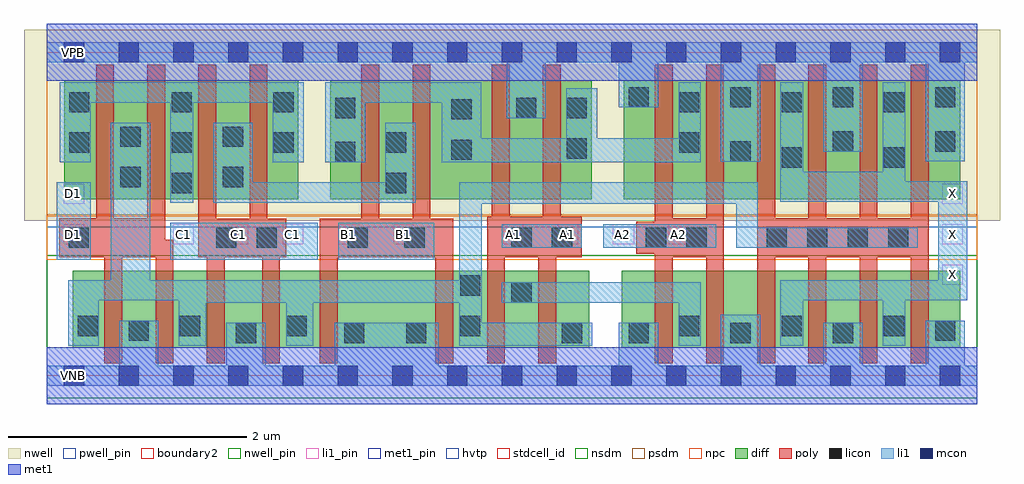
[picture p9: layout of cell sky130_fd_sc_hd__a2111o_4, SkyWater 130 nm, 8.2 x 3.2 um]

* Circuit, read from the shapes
.subckt sky130_fd_sc_hd__a2111o_4 A1 A2 B1 C1 D1 VGND VNB VPB VPWR X
XM1 VGND D1 n1 VNB sky130_fd_pr__nfet_01v8 w=0.65 l=0.15 m=2
XM2 VGND C1 n1 VNB sky130_fd_pr__nfet_01v8 w=0.65 l=0.15 m=2
XM3 VGND B1 n1 VNB sky130_fd_pr__nfet_01v8 w=0.65 l=0.15 m=2
XM4 n2 A1 n1 VNB sky130_fd_pr__nfet_01v8 w=0.65 l=0.15 m=2
XM5 n2 A2 VGND VNB sky130_fd_pr__nfet_01v8 w=0.65 l=0.15 m=2
XM6 X n1 VGND VNB sky130_fd_pr__nfet_01v8 w=0.65 l=0.15 m=4
XM7 n1 D1 n3 VPB sky130_fd_pr__pfet_01v8_hvt w=1 l=0.15 m=2
XM8 n4 C1 n3 VPB sky130_fd_pr__pfet_01v8_hvt w=1 l=0.15 m=2
XM9 n4 B1 n5 VPB sky130_fd_pr__pfet_01v8_hvt w=1 l=0.15 m=2
XM10 VPWR A1 n5 VPB sky130_fd_pr__pfet_01v8_hvt w=1 l=0.15 m=2
XM11 n5 A2 VPWR VPB sky130_fd_pr__pfet_01v8_hvt w=1 l=0.15 m=2
XM12 X n1 VPWR VPB sky130_fd_pr__pfet_01v8_hvt w=1 l=0.15 m=4
.ends

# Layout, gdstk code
import gdstk
lib = gdstk.Library(unit=1e-6, precision=1e-09)
def R(c, l, rs):  # rectangles x0, y0, x1, y1
    for r in rs: c.add(gdstk.rectangle(r[:2], r[2:], *l))
def A(c, l, x, y, w, h, nx, ny, dx, dy):  # array of equal rectangles
    R(c, l, [(x+i*dx, y+j*dy, x+i*dx+w, y+j*dy+h) for i in range(nx) for j in range(ny)])
def P(c, l, *ps):  # polygons
    for p in ps: c.add(gdstk.Polygon(p, *l))
nwell_pin = (64, 16)
nwell = (64, 20)
diff = (65, 20)
poly = (66, 20)
licon = (66, 44)
li1_pin = (67, 16)
li1 = (67, 20)
mcon = (67, 44)
met1_pin = (68, 16)
met1 = (68, 20)
hvtp = (78, 44)
stdcell_id = (81, 4)
nsdm = (93, 44)
psdm = (94, 20)
npc = (95, 20)
pwell_pin = (122, 16)
boundary2 = (236, 0)

sky130_fd_sc_hd__a2111o_ = lib.new_cell('sky130_fd_sc_hd__a2111o_4')
R(sky130_fd_sc_hd__a2111o_, nwell_pin, [(0.145,2.635,0.315,2.805)])
R(sky130_fd_sc_hd__a2111o_, nwell, [(-0.19,1.305,8.01,2.91)])
R(sky130_fd_sc_hd__a2111o_, diff, [(0.22,0.235,4.56,0.885), (4.83,0.235,7.675,0.885), (0.15,1.485,2.115,2.485), (2.385,1.485,4.58,2.485), (4.85,1.485,7.675,2.485)])
P(sky130_fd_sc_hd__a2111o_, poly, [(1.065,1.145),(0.995,1.145),(0.995,2.615),(0.845,2.615),(0.845,1.325),(0.565,1.325),(0.565,2.615),(0.415,2.615),(0.415,1.325),(0.105,1.325),(0.105,0.995),(0.485,0.995),(0.485,0.105),(0.635,0.105),(0.635,0.995),(0.915,0.995),(0.915,0.105),(1.065,0.105)],
  [(2.015,1.32),(1.855,1.32),(1.855,2.615),(1.705,2.615),(1.705,1.32),(1.425,1.32),(1.425,2.615),(1.275,2.615),(1.275,0.995),(1.345,0.995),(1.345,0.105),(1.495,0.105),(1.495,0.995),(1.81,0.995),(1.81,0.105),(1.96,0.105),(1.96,0.995),(2.015,0.995)],
  [(3.415,1.32),(3.225,1.32),(3.225,2.615),(3.075,2.615),(3.075,1.32),(2.795,1.32),(2.795,2.615),(2.645,2.615),(2.645,1.32),(2.295,1.32),(2.295,0.105),(2.445,0.105),(2.445,0.995),(3.265,0.995),(3.265,0.105),(3.415,0.105)],
  [(4.495,1.335),(4.32,1.335),(4.32,2.615),(4.17,2.615),(4.17,1.335),(3.89,1.335),(3.89,2.615),(3.74,2.615),(3.74,1.335),(3.7,1.335),(3.7,0.105),(3.85,0.105),(3.85,0.995),(4.13,0.995),(4.13,0.105),(4.28,0.105),(4.28,0.995),(4.495,0.995)],
  [(5.69,2.615),(5.54,2.615),(5.54,1.325),(5.26,1.325),(5.26,2.615),(5.11,2.615),(5.11,1.295),(4.955,1.295),(4.955,1.025),(5.11,1.025),(5.11,0.105),(5.26,0.105),(5.26,0.995),(5.54,0.995),(5.54,0.105),(5.69,0.105)],
  [(7.41,2.615),(7.26,2.615),(7.26,1.325),(6.98,1.325),(6.98,2.615),(6.83,2.615),(6.83,1.325),(6.55,1.325),(6.55,2.615),(6.4,2.615),(6.4,1.325),(6.12,1.325),(6.12,2.615),(5.97,2.615),(5.97,0.105),(6.12,0.105),(6.12,0.995),(6.4,0.995),(6.4,0.105),(6.55,0.105),(6.55,0.995),(6.83,0.995),(6.83,0.105),(6.98,0.105),(6.98,0.995),(7.26,0.995),(7.26,0.105),(7.41,0.105)])
A(sky130_fd_sc_hd__a2111o_, licon, 5.315, 0.335, 0.17, 0.17, 3, 2, 0.86, 1.88)
A(sky130_fd_sc_hd__a2111o_, licon, 6.05, 1.075, 0.17, 0.17, 4, 1, 0.34, 0)
A(sky130_fd_sc_hd__a2111o_, licon, 1.05, 1.535, 0.17, 0.17, 1, 3, 0, 0.34)
A(sky130_fd_sc_hd__a2111o_, licon, 5.745, 2.255, 0.17, 0.17, 3, 1, 0.86, 0)
R(sky130_fd_sc_hd__a2111o_, licon, [(1.59,0.275,1.76,0.445), (2.5,0.275,2.67,0.445), (3.02,0.275,3.19,0.445), (4.33,0.275,4.5,0.445), (4.89,0.275,5.06,0.445), (5.745,0.275,5.915,0.445), (6.605,0.275,6.775,0.445), (0.69,0.295,0.86,0.465), (7.465,0.295,7.635,0.465), (0.26,0.335,0.43,0.505), (1.12,0.335,1.29,0.505), (2.015,0.335,2.185,0.505), (3.475,0.335,3.645,0.505), (3.905,0.615,4.075,0.785), (3.475,0.675,3.645,0.845), (0.185,1.075,0.355,1.245), (1.425,1.075,1.595,1.245), (1.765,1.075,1.935,1.245), (2.53,1.075,2.7,1.245), (3.005,1.075,3.175,1.245), (3.905,1.075,4.075,1.245), (4.245,1.075,4.415,1.245), (5.035,1.075,5.205,1.245), (5.375,1.075,5.545,1.245), (2.85,1.535,3.02,1.705), (0.62,1.585,0.79,1.755), (1.48,1.585,1.65,1.755), (6.175,1.75,6.345,1.92), (7.035,1.75,7.205,1.92), (2.425,1.795,2.595,1.965), (5.745,1.8,5.915,1.97), (3.4,1.815,3.57,1.985), (4.37,1.825,4.54,1.995), (0.19,1.875,0.36,2.045), (1.905,1.875,2.075,2.045), (2.85,1.875,3.02,2.045), (5.315,1.875,5.485,2.045), (6.605,1.885,6.775,2.055), (7.465,1.885,7.635,2.055), (0.62,1.925,0.79,2.095), (1.48,1.925,1.65,2.095), (3.4,2.155,3.57,2.325), (2.425,2.165,2.595,2.335), (3.945,2.165,4.115,2.335), (4.37,2.165,4.54,2.335), (0.19,2.215,0.36,2.385), (1.905,2.215,2.075,2.385), (4.89,2.255,5.06,2.425)])
A(sky130_fd_sc_hd__a2111o_, li1_pin, 7.525, 0.765, 0.17, 0.17, 1, 3, 0, 0.34)
A(sky130_fd_sc_hd__a2111o_, li1_pin, 1.065, 1.105, 0.17, 0.17, 3, 1, 0.46, 0)
R(sky130_fd_sc_hd__a2111o_, li1_pin, [(0.145,1.105,0.315,1.275), (2.455,1.105,2.625,1.275), (2.915,1.105,3.085,1.275), (3.835,1.105,4.005,1.275), (4.295,1.105,4.465,1.275), (4.755,1.105,4.935,1.275), (5.225,1.105,5.395,1.275), (0.145,1.445,0.315,1.615)])
R(sky130_fd_sc_hd__a2111o_, li1, [(0.085,0.975,0.37,1.625), (1.04,0.975,2.28,1.285), (2.45,0.975,3.255,1.285), (3.825,1.075,4.495,1.275), (4.675,1.075,5.625,1.275)])
P(sky130_fd_sc_hd__a2111o_, li1, [(7.82,0.085),(7.715,0.085),(7.715,0.465),(7.385,0.465),(7.385,0.085),(6.855,0.085),(6.855,0.445),(6.525,0.445),(6.525,0.085),(5.995,0.085),(5.995,0.515),(5.665,0.515),(5.665,0.085),(5.14,0.085),(5.14,0.445),(4.805,0.445),(4.805,0.085),(3.295,0.085),(3.295,0.445),(2.42,0.445),(2.42,0.085),(1.84,0.085),(1.84,0.445),(1.51,0.445),(1.51,0.085),(0.94,0.085),(0.94,0.465),(0.61,0.465),(0.61,0.085),(0,0.085),(0,-0.085),(7.82,-0.085)],
  [(7.82,2.805),(0,2.805),(0,2.635),(3.865,2.635),(3.865,2.165),(4.195,2.165),(4.195,2.635),(4.805,2.635),(4.805,2.255),(5.14,2.255),(5.14,2.635),(5.665,2.635),(5.665,1.8),(5.995,1.8),(5.995,2.635),(6.525,2.635),(6.525,1.885),(6.855,1.885),(6.855,2.635),(7.385,2.635),(7.385,1.805),(7.715,1.805),(7.715,2.635),(7.82,2.635)],
  [(2.16,2.465),(0.11,2.465),(0.11,1.795),(0.37,1.795),(0.37,2.295),(1.04,2.295),(1.04,1.455),(1.23,1.455),(1.23,2.295),(1.9,2.295),(1.9,1.795),(2.16,1.795)],
  [(3.1,2.125),(2.845,2.125),(2.845,1.625),(1.73,1.625),(1.73,2.125),(1.4,2.125),(1.4,1.455),(3.1,1.455)],
  [(5.495,2.465),(5.31,2.465),(5.31,1.995),(4.625,1.995),(4.625,2.415),(4.365,2.415),(4.365,1.995),(3.65,1.995),(3.65,2.465),(2.34,2.465),(2.34,1.795),(2.675,1.795),(2.675,2.295),(3.32,2.295),(3.32,1.795),(5.495,1.795)],
  [(5.495,0.785),(3.825,0.785),(3.825,0.615),(5.31,0.615),(5.31,0.255),(5.495,0.255)],
  [(7.32,1.245),(5.975,1.245),(5.975,1.625),(3.465,1.625),(3.465,0.805),(0.87,0.805),(0.87,2.125),(0.54,2.125),(0.54,0.805),(0.18,0.805),(0.18,0.255),(0.44,0.255),(0.44,0.635),(1.11,0.635),(1.11,0.255),(1.34,0.255),(1.34,0.615),(2.015,0.615),(2.015,0.255),(2.24,0.255),(2.24,0.615),(3.465,0.615),(3.465,0.255),(4.585,0.255),(4.585,0.445),(3.655,0.445),(3.655,1.445),(5.795,1.445),(5.795,1.075),(7.32,1.075)],
  [(7.735,1.635),(7.215,1.635),(7.215,2.465),(7.025,2.465),(7.025,1.715),(6.355,1.715),(6.355,2.465),(6.165,2.465),(6.165,1.465),(7.49,1.465),(7.49,0.805),(6.165,0.805),(6.165,0.255),(6.355,0.255),(6.355,0.635),(7.025,0.635),(7.025,0.255),(7.215,0.255),(7.215,0.635),(7.735,0.635)])
A(sky130_fd_sc_hd__a2111o_, mcon, 0.145, -0.085, 0.17, 0.17, 17, 2, 0.46, 2.72)
R(sky130_fd_sc_hd__a2111o_, met1_pin, [(0.145,-0.085,0.315,0.085), (0.145,2.635,0.315,2.805)])
R(sky130_fd_sc_hd__a2111o_, hvtp, [(0,1.25,7.82,2.72)])
R(sky130_fd_sc_hd__a2111o_, stdcell_id, [(0,0,7.82,2.72)])
R(sky130_fd_sc_hd__a2111o_, nsdm, [(0,-0.19,7.82,1.015)])
R(sky130_fd_sc_hd__a2111o_, psdm, [(0,1.355,7.82,2.91)])
R(sky130_fd_sc_hd__a2111o_, npc, [(0,0.975,7.82,1.345)])
R(sky130_fd_sc_hd__a2111o_, pwell_pin, [(0.145,-0.085,0.315,0.085)])
R(sky130_fd_sc_hd__a2111o_, boundary2, [(0,0,7.82,2.72)])
sky130_fd_sc_hd__a2111o_.add(gdstk.FlexPath([(0,2.72),(7.82,2.72)], 0.48, ends="flush", simple_path=True, layer=68, datatype=20))  # met1
sky130_fd_sc_hd__a2111o_.add(gdstk.FlexPath([(0,0),(7.82,0)], 0.48, ends="flush", simple_path=True, layer=68, datatype=20))  # met1
sky130_fd_sc_hd__a2111o_.add(gdstk.Label('C1', (1.61,1.19), layer=67, texttype=5))
sky130_fd_sc_hd__a2111o_.add(gdstk.Label('B1', (3,1.19), layer=67, texttype=5))
sky130_fd_sc_hd__a2111o_.add(gdstk.Label('A1', (4.38,1.19), layer=67, texttype=5))
sky130_fd_sc_hd__a2111o_.add(gdstk.Label('A2', (5.31,1.19), layer=67, texttype=5))
sky130_fd_sc_hd__a2111o_.add(gdstk.Label('X', (7.61,0.85), layer=67, texttype=5))
sky130_fd_sc_hd__a2111o_.add(gdstk.Label('D1', (0.23,1.19), layer=67, texttype=5))
sky130_fd_sc_hd__a2111o_.add(gdstk.Label('D1', (0.23,1.53), layer=67, texttype=5))
sky130_fd_sc_hd__a2111o_.add(gdstk.Label('C1', (1.15,1.19), layer=67, texttype=5))
sky130_fd_sc_hd__a2111o_.add(gdstk.Label('C1', (2.07,1.19), layer=67, texttype=5))
sky130_fd_sc_hd__a2111o_.add(gdstk.Label('B1', (2.54,1.19), layer=67, texttype=5))
sky130_fd_sc_hd__a2111o_.add(gdstk.Label('A1', (3.92,1.19), layer=67, texttype=5))
sky130_fd_sc_hd__a2111o_.add(gdstk.Label('A2', (4.84,1.19), layer=67, texttype=5))
sky130_fd_sc_hd__a2111o_.add(gdstk.Label('X', (7.61,1.19), layer=67, texttype=5))
sky130_fd_sc_hd__a2111o_.add(gdstk.Label('X', (7.61,1.53), layer=67, texttype=5))
sky130_fd_sc_hd__a2111o_.add(gdstk.Label('VNB', (0.23,0), layer=64, texttype=59))
sky130_fd_sc_hd__a2111o_.add(gdstk.Label('VPB', (0.23,2.72), layer=64, texttype=5))
sky130_fd_sc_hd__a2111o_.add(gdstk.Label('VGND', (0.23,0), layer=68, texttype=5))
sky130_fd_sc_hd__a2111o_.add(gdstk.Label('VPWR', (0.23,2.72), layer=68, texttype=5))
sky130_fd_sc_hd__a2111o_.add(gdstk.Label('a2111o_4', (0,0), layer=83, texttype=44))

lib.write_gds('sky130_fd_sc_hd__a2111o_4.gds')
